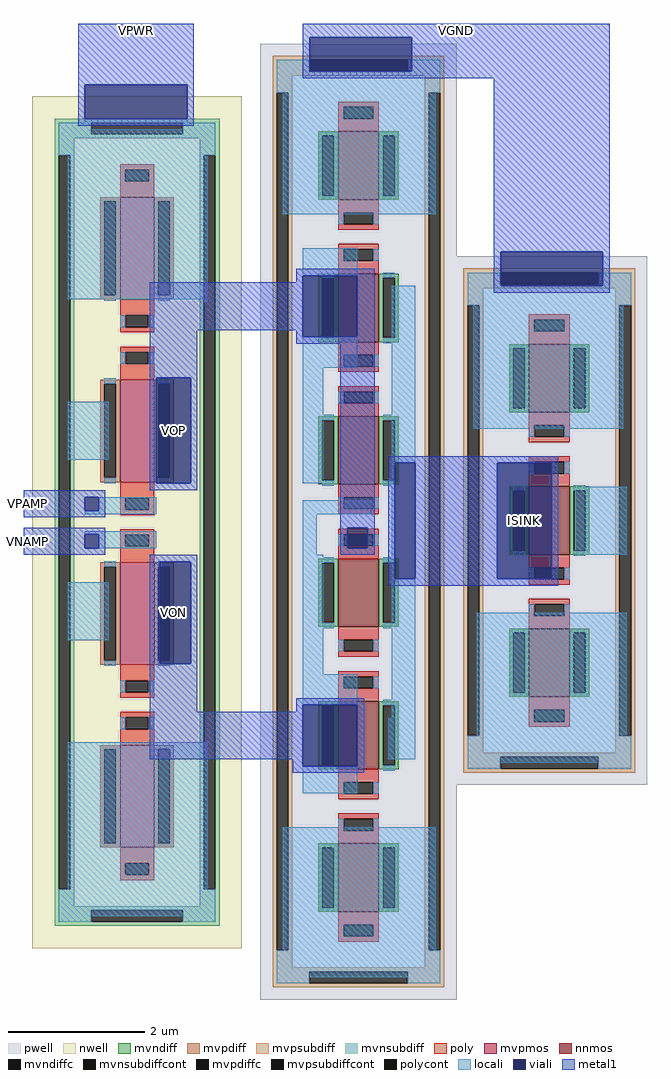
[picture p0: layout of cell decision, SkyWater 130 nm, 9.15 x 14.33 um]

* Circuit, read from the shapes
.subckt decision ISINK VGND VNAMP VON VOP VPAMP VPWR
XM1 VGND VGND VGND VGND sky130_fd_pr__nfet_03v3_nvt w=1 l=0.6 m=4
XM2 ISINK VON VON VGND sky130_fd_pr__nfet_03v3_nvt w=1 l=0.6
XM3 ISINK VOP VON VGND sky130_fd_pr__nfet_03v3_nvt w=1 l=0.6
XM4 ISINK VON VOP VGND sky130_fd_pr__nfet_03v3_nvt w=1 l=0.6
XM5 ISINK VOP VOP VGND sky130_fd_pr__nfet_03v3_nvt w=1 l=0.6
XM6 VGND ISINK ISINK VGND sky130_fd_pr__nfet_03v3_nvt w=1 l=0.6
XM7 VPWR VPWR VPWR VPWR sky130_fd_pr__pfet_g5v0d10v5 w=1.5 l=0.5 m=2
XM8 VON VNAMP VPWR VPWR sky130_fd_pr__pfet_g5v0d10v5 w=1.5 l=0.5
XM9 VOP VPAMP VPWR VPWR sky130_fd_pr__pfet_g5v0d10v5 w=1.5 l=0.5
.ends

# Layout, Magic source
magic
tech sky130A
magscale 1 2
<< nwell >>
rect 60 1720 270 1770
rect 60 1190 270 1230
rect 40 1180 270 1190
rect 40 1170 120 1180
rect 40 1130 120 1140
rect 40 1110 270 1130
rect 40 1060 120 1110
rect 280 740 370 1040
<< pwell >>
rect 700 960 760 1060
rect 700 700 860 710
rect 700 360 780 680
<< locali >>
rect 640 2480 720 2500
rect 1020 2480 1090 2500
rect 60 2320 360 2340
rect 10 1810 420 2310
rect 640 2060 1090 2480
rect 410 1800 420 1810
rect 700 1880 860 1960
rect 1200 1850 1280 1870
rect 1580 1850 1640 1870
rect 700 1610 860 1700
rect 10 1340 130 1510
rect 700 1270 760 1610
rect 960 1330 1030 1850
rect 1200 1430 1640 1850
rect 100 1190 270 1230
rect 60 1180 270 1190
rect 700 1200 920 1220
rect 700 1180 900 1200
rect 60 1120 270 1130
rect 100 1080 270 1120
rect 700 1060 740 1180
rect 10 810 130 980
rect 700 710 760 1060
rect 960 990 970 1330
rect 1500 1060 1650 1260
rect 700 620 860 710
rect 10 0 420 510
rect 960 580 1030 990
rect 950 460 1030 580
rect 1210 450 1650 890
rect 700 360 860 440
rect 640 -180 1090 260
<< viali >>
rect 720 2480 1020 2580
rect 60 2340 360 2440
rect 700 1700 860 1880
rect 1280 1850 1580 1950
rect 270 1270 370 1580
rect 60 1190 100 1230
rect 60 1080 100 1120
rect 830 1080 890 1140
rect 280 740 370 1040
rect 970 990 1030 1330
rect 1270 990 1430 1330
rect 700 440 860 620
<< metal1 >>
rect 40 2440 380 2620
rect 700 2580 1600 2620
rect 700 2480 720 2580
rect 1020 2480 1600 2580
rect 700 2460 1600 2480
rect 40 2340 60 2440
rect 360 2340 380 2440
rect 40 2320 380 2340
rect 1260 1950 1600 2460
rect 680 1880 910 1900
rect 680 1860 700 1880
rect 250 1720 700 1860
rect 250 1580 390 1720
rect 680 1700 700 1720
rect 860 1700 910 1880
rect 1260 1850 1280 1950
rect 1580 1850 1600 1950
rect 1260 1830 1600 1850
rect 680 1680 910 1700
rect 250 1270 270 1580
rect 370 1270 390 1580
rect 250 1250 390 1270
rect -120 1230 120 1250
rect -120 1190 60 1230
rect 100 1190 120 1230
rect -120 1170 120 1190
rect 810 1140 910 1680
rect -120 1120 120 1140
rect -120 1080 60 1120
rect 100 1080 120 1120
rect -120 1060 120 1080
rect 810 1080 830 1140
rect 890 1080 910 1140
rect 810 1060 910 1080
rect 950 1330 1450 1350
rect 250 1040 390 1060
rect 250 740 280 1040
rect 370 740 390 1040
rect 950 990 970 1330
rect 1030 990 1270 1330
rect 1430 990 1450 1330
rect 950 970 1450 990
rect 250 600 390 740
rect 680 620 880 640
rect 680 600 700 620
rect 250 460 700 600
rect 670 440 700 460
rect 860 440 880 620
rect 670 420 880 440
use sky130_fd_pr__nfet_03v3_nvt_NAHJCF  sky130_fd_pr__nfet_03v3_nvt_NAHJCF_0
transform 1 0 1423 0 1 1161
box -288 -776 288 776
use sky130_fd_pr__nfet_03v3_nvt_BKHJCF  sky130_fd_pr__nfet_03v3_nvt_BKHJCF_0
transform 1 0 863 0 1 1158
box -288 -1403 288 1403
use sky130_fd_pr__pfet_g5v0d10v5_CABTE7  sky130_fd_pr__pfet_g5v0d10v5_CABTE7_0
transform 1 0 213 0 1 1156
box -308 -1251 308 1251
<< labels >>
rlabel metal1 40 2580 380 2620 1 VPWR
rlabel metal1 250 1250 390 1600 1 VOP
rlabel metal1 250 720 390 1060 1 VON
rlabel metal1 -120 1170 -100 1250 1 VPAMP
rlabel metal1 -120 1060 -100 1140 1 VNAMP
rlabel metal1 1250 970 1450 1350 1 ISINK
rlabel metal1 700 2580 1600 2620 1 VGND
<< end >>

# cell sky130_fd_pr__nfet_03v3_nvt_NAHJCF: kit device sky130_fd_pr__nfet_03v3_nvt, w 1 l 0.6 m 3 nf 1 diffcov 100 polycov 100 guard 1 glc 1 grc 1 gtc 1 gbc 1 tbcov 100 rlcov 100 topc 1 botc 1 poverlap 0 doverlap 1 lmin 0.50 wmin 0.42 compatible {sky130_fd_pr__nfet_01v8 sky130_fd_pr__nfet_01v8_lvt sky130_fd_bs_flash__special_sonosfet_star sky130_fd_pr__nfet_g5v0d10v5 sky130_fd_pr__nfet_05v0_nvt sky130_fd_pr__nfet_03v3_nvt} full_metal 1 viasrc 100 viadrn 100 viagate 100 viagb 0 viagr 0 viagl 0 viagt 0

# cell sky130_fd_pr__nfet_03v3_nvt_BKHJCF: kit device sky130_fd_pr__nfet_03v3_nvt, w 1 l 0.6 m 6 nf 1 diffcov 100 polycov 100 guard 1 glc 1 grc 1 gtc 1 gbc 1 tbcov 100 rlcov 100 topc 1 botc 1 poverlap 0 doverlap 1 lmin 0.50 wmin 0.42 compatible {sky130_fd_pr__nfet_01v8 sky130_fd_pr__nfet_01v8_lvt sky130_fd_bs_flash__special_sonosfet_star sky130_fd_pr__nfet_g5v0d10v5 sky130_fd_pr__nfet_05v0_nvt sky130_fd_pr__nfet_03v3_nvt} full_metal 1 viasrc 100 viadrn 100 viagate 100 viagb 0 viagr 0 viagl 0 viagt 0

# cell sky130_fd_pr__pfet_g5v0d10v5_CABTE7: kit device sky130_fd_pr__pfet_g5v0d10v5, w 1.5 l 0.50 m 4 nf 1 diffcov 100 polycov 100 guard 1 glc 1 grc 1 gtc 1 gbc 1 tbcov 100 rlcov 100 topc 1 botc 1 poverlap 0 doverlap 1 lmin 0.50 wmin 0.42 compatible {sky130_fd_pr__pfet_01v8 sky130_fd_pr__pfet_01v8_lvt sky130_fd_pr__pfet_01v8_hvt sky130_fd_pr__pfet_g5v0d10v5} full_metal 1 viasrc 100 viadrn 100 viagate 100 viagb 0 viagr 0 viagl 0 viagt 0
